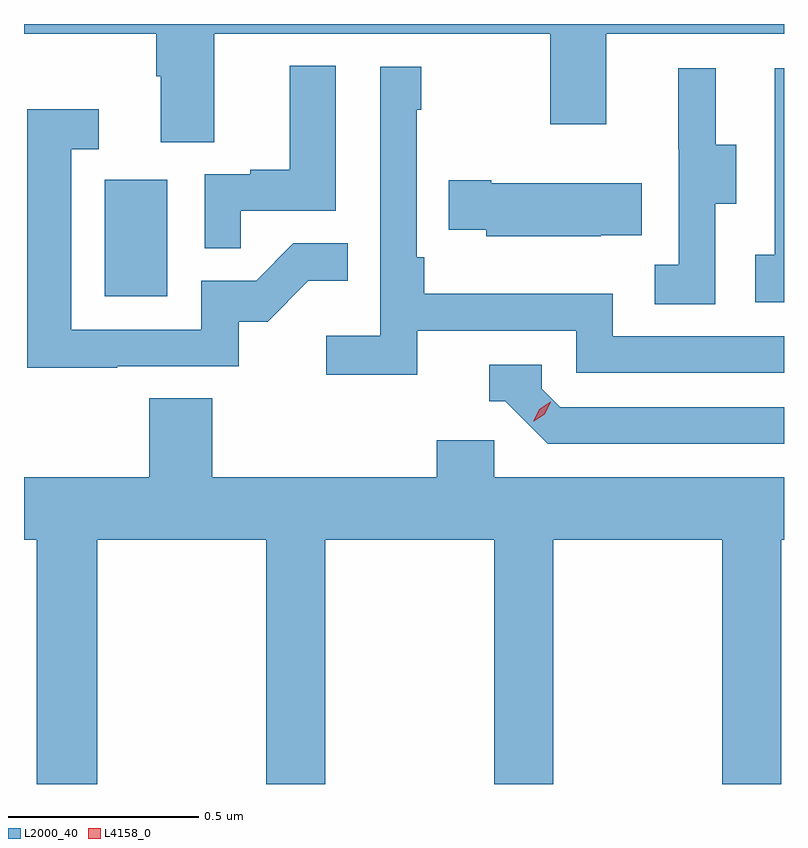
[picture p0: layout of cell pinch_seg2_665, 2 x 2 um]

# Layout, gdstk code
import gdstk
lib = gdstk.Library(unit=1e-6, precision=1e-09)
def R(c, l, rs):  # rectangles x0, y0, x1, y1
    for r in rs: c.add(gdstk.rectangle(r[:2], r[2:], *l))
def P(c, l, *ps):  # polygons
    for p in ps: c.add(gdstk.Polygon(p, *l))
L2000_40 = (2000, 40)
L4158_0 = (4158, 0)

pinch_seg2_665 = lib.new_cell('pinch_seg2_665')
R(pinch_seg2_665, L2000_40, [(1036.448,587.004,1036.612,587.311)])
P(pinch_seg2_665, L2000_40, [(1036.735,587.696),(1037.62,587.696),(1037.62,587.457),(1037.767,587.457),(1037.767,587.696),(1038.235,587.696),(1038.235,587.721),(1036.235,587.721),(1036.235,587.696),(1036.583,587.696),(1036.583,587.584),(1036.595,587.584),(1036.595,587.41),(1036.735,587.41)],
  [(1036.805,587.229),(1037.056,587.229),(1037.056,587.611),(1036.934,587.611),(1036.934,587.338),(1036.831,587.338),(1036.831,587.325),(1036.71,587.325),(1036.71,587.131),(1036.805,587.131)],
  [(1037.27,586.914),(1037.688,586.914),(1037.688,586.803),(1038.235,586.803),(1038.235,586.899),(1037.784,586.899),(1037.784,587.011),(1037.288,587.011),(1037.288,587.107),(1037.268,587.107),(1037.268,587.495),(1037.281,587.495),(1037.281,587.608),(1037.172,587.608),(1037.172,586.9),(1037.031,586.9),(1037.031,586.798),(1037.27,586.798)],
  [(1038.235,587.605),(1038.21,587.605),(1038.21,587.114),(1038.159,587.114),(1038.159,586.989),(1038.235,586.989)],
  [(1038.054,587.248),(1038.109,587.248),(1038.109,587.403),(1038.055,587.403),(1038.055,587.605),(1037.957,587.605),(1037.957,587.391),(1037.958,587.391),(1037.958,587.087),(1037.895,587.087),(1037.895,586.984),(1038.054,586.984)],
  [(1036.481,586.821),(1036.8,586.821),(1036.8,586.938),(1036.876,586.938),(1036.983,587.045),(1037.087,587.045),(1037.087,587.144),(1036.944,587.144),(1036.846,587.046),(1036.701,587.046),(1036.701,586.917),(1036.359,586.917),(1036.359,587.391),(1036.432,587.391),(1036.432,587.497),(1036.243,587.497),(1036.243,586.816),(1036.481,586.816)],
  [(1037.753,587.165),(1037.861,587.165),(1037.861,587.302),(1037.464,587.302),(1037.464,587.31),(1037.353,587.31),(1037.353,587.18),(1037.451,587.18),(1037.451,587.162),(1037.753,587.162)],
  [(1038.235,586.713),(1037.646,586.713),(1037.598,586.761),(1037.598,586.824),(1037.459,586.824),(1037.459,586.728),(1037.502,586.728),(1037.613,586.617),(1038.235,586.617)],
  [(1036.428,586.364),(1036.873,586.364),(1036.873,585.721),(1037.028,585.721),(1037.028,586.364),(1037.473,586.364),(1037.473,585.721),(1037.628,585.721),(1037.628,586.364),(1038.073,586.364),(1038.073,585.721),(1038.228,585.721),(1038.228,586.364),(1038.235,586.364),(1038.235,586.528),(1037.472,586.528),(1037.472,586.626),(1037.321,586.626),(1037.321,586.528),(1036.73,586.528),(1036.73,586.736),(1036.565,586.736),(1036.565,586.528),(1036.235,586.528),(1036.235,586.364),(1036.268,586.364),(1036.268,585.721),(1036.428,585.721)])
P(pinch_seg2_665, L4158_0, [(1037.575,586.675),(1037.575,586.675),(1037.591,586.707),(1037.621,586.727),(1037.621,586.727),(1037.621,586.726),(1037.606,586.694),(1037.576,586.675)])

lib.write_gds('pinch_seg2_665.gds')
